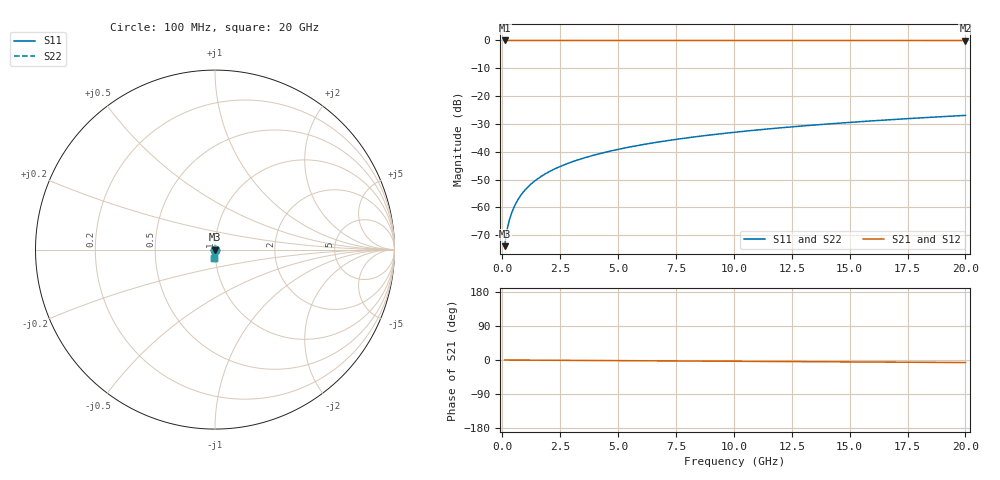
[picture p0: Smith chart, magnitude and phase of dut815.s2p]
! Touchstone file exported from HFSS 2026.1.0
!  File:  C:/ffzhzh/LocalFiles/Ansys_Project_Files/temp_train_TSV_815_1783184352_22436.aedt
!  Generated:  01:00:35 AM Jul  5, 2026
!  Design:  TSV
!  Project:  temp_train_TSV_815_1783184352_22436
! Variables:
!  h_bsmrdl = 2um
!  h_ox = 20um
!  h_rdl = 5um
!  h_sub = 62.64um
!  h_tmrdl = 5um
!  h_tsv = 62.64um
!  h_via = 3um
!  l_bsmrdl = 300um
!  l_sub = 427.22um
!  l_tmrdl = 200um
!  m_sub = 200um
!  pitch = 38.81um
!  r_tsv = 13.61um
!  s_tmrdl = 10um
!  w_bsmrdl = 18um
!  w_sub = 500um
!  w_tmrdl = 12um
!  x_tsv_center1 = 206um
!  x_tsv_center2 = 524um
!  x_tsv_center3 = 736um
!  x_tsv_center4 = 1054um
!  x_tsv_center5 = 1266um
!  x_tsv_center6 = 1584um
# GHz S MA R 50.000000
! Terminal data exported
! Port[1] = TSV1_1_T1
! Port[2] = TSV1_1_T2
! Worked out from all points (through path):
!   200 points, 100 MHz to 20 GHz, reference 50 ohm
!   highest |S21| = 0.00 dB at 100 MHz (marker M1); lowest = 0.0 dB at 20 GHz (marker M2)
!   lowest |S11| = -73.9 dB at 100 MHz (marker M3), VSWR 1.00, Z = 50 - j0.0188 ohm
!   |S11| at or under -10 dB: start of sweep to end of sweep
!   |S22| runs from -73.9 to -26.9 dB; largest |S21 - S12| = 2.1e-15
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0.1  0.0002019 -68.5  0.9999 -0.0  0.9999 -0.0  0.0002019 -68.5
! Gamma 0 0 0 0
! Port Impedance 50 0 50 0
0.2  0.0003889 -77.2  0.9999 -0.1  0.9999 -0.1  0.0003889 -77.2
0.3  0.0005857 -79.8  0.9999 -0.1  0.9999 -0.1  0.0005857 -79.8
0.4  0.0007899 -81.0  0.9999 -0.1  0.9999 -0.1  0.0007899 -81.0
0.5  0.001 -81.7  0.9999 -0.2  0.9999 -0.2  0.001 -81.7
0.7  0.001434 -82.7  0.9998 -0.2  0.9998 -0.2  0.001434 -82.7
0.8  0.001654 -83.2  0.9998 -0.3  0.9998 -0.3  0.001654 -83.2
1  0.002099 -84.0  0.9998 -0.3  0.9998 -0.3  0.002099 -84.0
1.2  0.002546 -84.7  0.9997 -0.4  0.9997 -0.4  0.002546 -84.7
1.4  0.002993 -85.3  0.9997 -0.5  0.9997 -0.5  0.002993 -85.3
1.7  0.003664 -86.0  0.9997 -0.6  0.9997 -0.6  0.003664 -86.0
2  0.004335 -86.5  0.9997 -0.7  0.9997 -0.7  0.004335 -86.5
2.7  0.005899 -87.5  0.9996 -0.9  0.9996 -0.9  0.005899 -87.5
3.5  0.007689 -88.2  0.9996 -1.2  0.9996 -1.2  0.007689 -88.2
4.2  0.009261 -88.7  0.9995 -1.4  0.9995 -1.4  0.009261 -88.7
5  0.01106 -89.2  0.9995 -1.7  0.9995 -1.7  0.01106 -89.2
6.8  0.01513 -90.2  0.9993 -2.3  0.9993 -2.3  0.01513 -90.2
8.3  0.01853 -90.9  0.9992 -2.8  0.9992 -2.8  0.01853 -90.9
10.1  0.02261 -91.7  0.9991 -3.4  0.9991 -3.4  0.02261 -91.7
13.4  0.03011 -93.0  0.9988 -4.5  0.9988 -4.5  0.03011 -93.0
16.7  0.0376 -94.3  0.9984 -5.6  0.9984 -5.6  0.0376 -94.3
20  0.04509 -95.5  0.998 -6.7  0.998 -6.7  0.04509 -95.5
